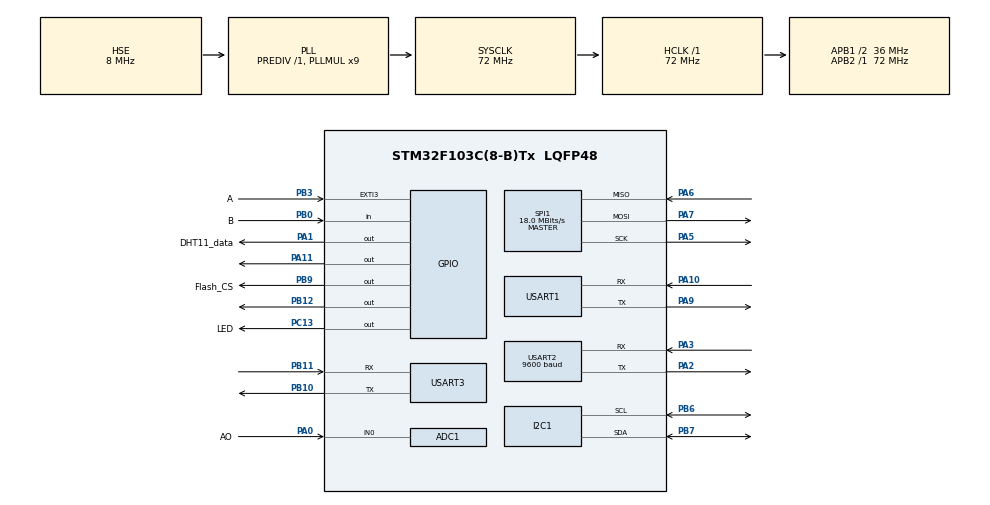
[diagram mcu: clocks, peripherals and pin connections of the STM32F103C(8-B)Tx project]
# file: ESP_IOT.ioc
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ADC1.Channel-0\#ChannelRegularConversion=ADC_CHANNEL_0
ADC1.ContinuousConvMode=ENABLE
ADC1.NbrOfConversion=1
ADC1.NbrOfConversionFlag=1
ADC1.Rank-0\#ChannelRegularConversion=1
ADC1.SamplingTime-0\#ChannelRegularConversion=ADC_SAMPLETIME_55CYCLES_5
ADC1.master=1
Dma.ADC1.4.Direction=DMA_PERIPH_TO_MEMORY
Dma.ADC1.4.Instance=DMA1_Channel1
Dma.ADC1.4.MemDataAlignment=DMA_MDATAALIGN_HALFWORD
Dma.ADC1.4.MemInc=DMA_MINC_DISABLE
Dma.ADC1.4.Mode=DMA_NORMAL
Dma.ADC1.4.PeriphDataAlignment=DMA_PDATAALIGN_HALFWORD
Dma.ADC1.4.PeriphInc=DMA_PINC_DISABLE
Dma.ADC1.4.Priority=DMA_PRIORITY_MEDIUM
Dma.Request0=USART1_RX
Dma.Request1=USART1_TX
Dma.Request2=USART3_RX
Dma.Request3=USART3_TX
Dma.Request4=ADC1
Dma.USART1_RX.0.Direction=DMA_PERIPH_TO_MEMORY
Dma.USART1_RX.0.Instance=DMA1_Channel5
Dma.USART1_RX.0.MemDataAlignment=DMA_MDATAALIGN_BYTE
Dma.USART1_RX.0.MemInc=DMA_MINC_ENABLE
Dma.USART1_RX.0.Mode=DMA_NORMAL
Dma.USART1_RX.0.PeriphDataAlignment=DMA_PDATAALIGN_BYTE
Dma.USART1_RX.0.PeriphInc=DMA_PINC_DISABLE
Dma.USART1_RX.0.Priority=DMA_PRIORITY_LOW
Dma.USART1_TX.1.Direction=DMA_MEMORY_TO_PERIPH
Dma.USART1_TX.1.Instance=DMA1_Channel4
Dma.USART1_TX.1.MemDataAlignment=DMA_MDATAALIGN_BYTE
Dma.USART1_TX.1.MemInc=DMA_MINC_ENABLE
Dma.USART1_TX.1.Mode=DMA_NORMAL
Dma.USART1_TX.1.PeriphDataAlignment=DMA_PDATAALIGN_BYTE
Dma.USART1_TX.1.PeriphInc=DMA_PINC_DISABLE
Dma.USART1_TX.1.Priority=DMA_PRIORITY_LOW
Dma.USART3_RX.2.Direction=DMA_PERIPH_TO_MEMORY
Dma.USART3_RX.2.Instance=DMA1_Channel3
Dma.USART3_RX.2.MemDataAlignment=DMA_MDATAALIGN_BYTE
Dma.USART3_RX.2.MemInc=DMA_MINC_ENABLE
Dma.USART3_RX.2.Mode=DMA_NORMAL
Dma.USART3_RX.2.PeriphDataAlignment=DMA_PDATAALIGN_BYTE
Dma.USART3_RX.2.PeriphInc=DMA_PINC_DISABLE
Dma.USART3_RX.2.Priority=DMA_PRIORITY_LOW
Dma.USART3_TX.3.Direction=DMA_MEMORY_TO_PERIPH
Dma.USART3_TX.3.Instance=DMA1_Channel2
Dma.USART3_TX.3.MemDataAlignment=DMA_MDATAALIGN_BYTE
Dma.USART3_TX.3.MemInc=DMA_MINC_ENABLE
Dma.USART3_TX.3.Mode=DMA_NORMAL
Dma.USART3_TX.3.PeriphDataAlignment=DMA_PDATAALIGN_BYTE
Dma.USART3_TX.3.PeriphInc=DMA_PINC_DISABLE
Dma.USART3_TX.3.Priority=DMA_PRIORITY_LOW
FREERTOS.Queues01=myQueue01,3,uint32_t,0,Dynamic,NULL,NULL
FREERTOS.Tasks01=defaultTask,25,288,StartDefaultTask,Default,NULL,Dynamic,NULL,NULL
FREERTOS.Timers01=UTC,UTC_Callback,osTimerPeriodic,Default,NULL,Dynamic,NULL
FREERTOS.configMINIMAL_STACK_SIZE=128
FREERTOS.configTOTAL_HEAP_SIZE=6132
FREERTOS.configUSE_NEWLIB_REENTRANT=0
Mcu.Family=STM32F1
Mcu.Name=STM32F103C(8-B)Tx
Mcu.Package=LQFP48
NVIC.DMA1_Channel1_IRQn=true\:5\:0\:false\:false\:true\:true\:false\:true\:true
NVIC.DMA1_Channel2_IRQn=true\:5\:0\:false\:false\:true\:true\:false\:true\:true
NVIC.DMA1_Channel3_IRQn=true\:5\:0\:false\:false\:true\:true\:false\:true\:true
NVIC.DMA1_Channel4_IRQn=true\:5\:0\:false\:false\:true\:true\:false\:true\:true
NVIC.DMA1_Channel5_IRQn=true\:5\:0\:false\:false\:true\:true\:false\:true\:true
NVIC.EXTI3_IRQn=true\:5\:0\:false\:false\:true\:true\:true\:true\:true
NVIC.PriorityGroup=NVIC_PRIORITYGROUP_4
NVIC.TIM4_IRQn=true\:15\:0\:false\:false\:true\:false\:false\:true\:true
NVIC.TimeBase=TIM4_IRQn
NVIC.TimeBaseIP=TIM4
NVIC.USART1_IRQn=true\:5\:0\:false\:false\:true\:true\:false\:true\:true
NVIC.USART2_IRQn=true\:5\:0\:false\:false\:true\:true\:true\:true\:true
NVIC.USART3_IRQn=true\:5\:0\:false\:false\:true\:true\:false\:true\:true
PA0-WKUP.GPIO_Label=AO
PA0-WKUP.Signal=ADCx_IN0
PA1.GPIO_Label=DHT11_data
PA1.GPIO_ModeDefaultOutputPP=GPIO_MODE_OUTPUT_PP
PA1.GPIO_PuPd=GPIO_PULLUP
PA1.GPIO_Speed=GPIO_SPEED_FREQ_HIGH
PA1.PinState=GPIO_PIN_SET
PA1.Signal=GPIO_Output
PA10.Mode=Asynchronous
PA10.Signal=USART1_RX
PA11.PinState=GPIO_PIN_SET
PA11.Signal=GPIO_Output
PA13.Mode=Serial_Wire
PA13.Signal=SYS_JTMS-SWDIO
PA14.Mode=Serial_Wire
PA14.Signal=SYS_JTCK-SWCLK
PA2.Mode=Asynchronous
PA2.Signal=USART2_TX
PA3.Mode=Asynchronous
PA3.Signal=USART2_RX
PA5.Mode=Full_Duplex_Master
PA5.Signal=SPI1_SCK
PA6.Mode=Full_Duplex_Master
PA6.Signal=SPI1_MISO
PA7.Mode=Full_Duplex_Master
PA7.Signal=SPI1_MOSI
PA9.Mode=Asynchronous
PA9.Signal=USART1_TX
PB0.GPIO_Label=B
PB0.GPIO_PuPd=GPIO_PULLUP
PB0.Signal=GPIO_Input
PB10.Mode=Asynchronous
PB10.Signal=USART3_TX
PB11.Mode=Asynchronous
PB11.Signal=USART3_RX
PB12.PinState=GPIO_PIN_SET
PB12.Signal=GPIO_Output
PB3.GPIO_Label=A
PB3.GPIO_ModeDefaultEXTI=GPIO_MODE_IT_FALLING
PB3.GPIO_PuPd=GPIO_PULLUP
PB3.Signal=GPXTI3
PB6.Mode=I2C
PB6.Signal=I2C1_SCL
PB7.Mode=I2C
PB7.Signal=I2C1_SDA
PB9.GPIO_Label=Flash_CS
PB9.Signal=GPIO_Output
PC13-TAMPER-RTC.GPIO_Label=LED
PC13-TAMPER-RTC.PinState=GPIO_PIN_SET
PC13-TAMPER-RTC.Signal=GPIO_Output
PC14-OSC32_IN.Mode=LSE-External-Oscillator
PC14-OSC32_IN.Signal=RCC_OSC32_IN
PC15-OSC32_OUT.Mode=LSE-External-Oscillator
PC15-OSC32_OUT.Signal=RCC_OSC32_OUT
PD0-OSC_IN.Mode=HSE-External-Oscillator
PD0-OSC_IN.Signal=RCC_OSC_IN
PD1-OSC_OUT.Mode=HSE-External-Oscillator
PD1-OSC_OUT.Signal=RCC_OSC_OUT
ProjectManager.HeapSize=0x200
ProjectManager.StackSize=0x400
ProjectManager.TargetToolchain=STM32CubeIDE
RCC.ADCPresc=RCC_ADCPCLK2_DIV6
RCC.AHBFreq_Value=72000000
RCC.APB1CLKDivider=RCC_HCLK_DIV2
RCC.APB1Freq_Value=36000000
RCC.APB1TimFreq_Value=72000000
RCC.APB2Freq_Value=72000000
RCC.APB2TimFreq_Value=72000000
RCC.HCLKFreq_Value=72000000
RCC.PLLMUL=RCC_PLL_MUL9
RCC.PLLSourceVirtual=RCC_PLLSOURCE_HSE
RCC.SYSCLKFreq_VALUE=72000000
RCC.SYSCLKSource=RCC_SYSCLKSOURCE_PLLCLK
RCC.USBFreq_Value=72000000
SH.ADCx_IN0.0=ADC1_IN0,IN0
SPI1.BaudRatePrescaler=SPI_BAUDRATEPRESCALER_4
SPI1.CLKPhase=SPI_PHASE_1EDGE
SPI1.CLKPolarity=SPI_POLARITY_LOW
SPI1.CRCCalculation=SPI_CRCCALCULATION_DISABLE
SPI1.CalculateBaudRate=18.0 MBits/s
SPI1.Direction=SPI_DIRECTION_2LINES
SPI1.Mode=SPI_MODE_MASTER
SPI1.VirtualType=VM_MASTER
TIM1.Prescaler=71
USART1.VirtualMode=VM_ASYNC
USART2.BaudRate=9600
USART2.VirtualMode=VM_ASYNC
USART3.VirtualMode=VM_ASYNC
VP_FREERTOS_VS_CMSIS_V2.Mode=CMSIS_V2
VP_SYS_VS_tim4.Mode=TIM4
VP_TIM1_VS_ClockSourceINT.Mode=Internal
board=custom

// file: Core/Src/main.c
/* USER CODE BEGIN Header */
/**
  ******************************************************************************
  * @file           : main.c
  * @brief          : Main program body
  ******************************************************************************
  * @attention
  *
  * Copyright (c) 2025 STMicroelectronics.
  * All rights reserved.
  *
  * This software is licensed under terms that can be found in the LICENSE file
  * in the root directory of this software component.
  * If no LICENSE file comes with this software, it is provided AS-IS.
  *
  ******************************************************************************
  */
/* USER CODE END Header */
#include "main.h"
#include "cmsis_os.h"
#include "adc.h"
#include "dma.h"
#include "i2c.h"
#include "spi.h"
#include "tim.h"
#include "usart.h"
#include "gpio.h"

/* USER CODE BEGIN Includes */
#include "esp8266.h"
#include "string.h"
#include "stdio.h"
#include "EC11.h"
#include "Light.h"
//#include "GPS.h"
#include "DHT11.h"
#include "Flash.h"
#include "MPU6050_max.h"
#include "math.h"
/* USER CODE END Includes */

/* USER CODE BEGIN PM */
extern uint8_t Uart3_RxData;	//接收中断3缓冲
extern uint8_t Uart1_RxData;  	//接收中断1缓冲

extern void OLED_Flash();

/* USER CODE END PM */

void SystemClock_Config(void);
void MX_FREERTOS_Init(void);

/* USER CODE BEGIN 0 */

//设备初始化函数
void BSP_Init()
{
	  MPU6050_Init(&hi2c1);	//陀螺仪初始化

	  OLED_Init();	//OLED初始化
	  OLED_Clear();

	  OLED_ShowCHinese(20,2,0);	//初
	  OLED_ShowCHinese(40,2,1);	//始
	  OLED_ShowCHinese(60,2,2);	//化
	  OLED_ShowCHinese(80,2,3);	//中

	  ESP8266_Init();	//esp8266初始化

}
/* USER CODE END 0 */

int main(void)
{

  /* USER CODE BEGIN 1 */
//	uint8_t readUid[5];
//	uint8_t UID[5]={0xFB,0x29,0x0B,0x0A};//自己的卡号
//	char clear[128]={0};
  /* USER CODE END 1 */

  /* MCU Configuration--------------------------------------------------------*/

  /* Reset of all peripherals, Initializes the Flash interface and the Systick. */
  HAL_Init();

  /* Configure the system clock */
  SystemClock_Config();

  /* Initialize all configured peripherals */
  MX_GPIO_Init();
  MX_DMA_Init();
  MX_USART1_UART_Init();
  MX_USART3_UART_Init();
  MX_ADC1_Init();
  MX_USART2_UART_Init();
  MX_SPI1_Init();
  MX_TIM1_Init();
  MX_I2C1_Init();
  /* USER CODE BEGIN 2 */
  HAL_UART_Receive_IT(&huart1,(uint8_t *)&Uart1_RxData, 1);	//开启接收中断
  HAL_UART_Receive_IT(&huart3,(uint8_t *)&Uart3_RxData, 1);
  HAL_Delay(1000);

  BSP_Init();	//初始化设备

  HAL_Delay(2000);
  /* USER CODE END 2 */

  /* Init scheduler */
  osKernelInitialize();  /* Call init function for freertos objects (in cmsis_os2.c) */
  MX_FREERTOS_Init();

  /* Start scheduler */
  osKernelStart();

  /* We should never get here as control is now taken by the scheduler */

  /* Infinite loop */
  /* USER CODE BEGIN WHILE */
  while (1)
  {

	  LED_TO;
		HAL_Delay(2000);
    /* USER CODE END WHILE */

  }
}

void SystemClock_Config(void)
{
  RCC_OscInitTypeDef RCC_OscInitStruct = {0};
  RCC_ClkInitTypeDef RCC_ClkInitStruct = {0};
  RCC_PeriphCLKInitTypeDef PeriphClkInit = {0};

  /** Initializes the RCC Oscillators according to the specified parameters
  * in the RCC_OscInitTypeDef structure.
  */
  RCC_OscInitStruct.OscillatorType = RCC_OSCILLATORTYPE_HSE;
  RCC_OscInitStruct.HSEState = RCC_HSE_ON;
  RCC_OscInitStruct.HSEPredivValue = RCC_HSE_PREDIV_DIV1;
  RCC_OscInitStruct.HSIState = RCC_HSI_ON;
  RCC_OscInitStruct.PLL.PLLState = RCC_PLL_ON;
  RCC_OscInitStruct.PLL.PLLSource = RCC_PLLSOURCE_HSE;
  RCC_OscInitStruct.PLL.PLLMUL = RCC_PLL_MUL9;
  if (HAL_RCC_OscConfig(&RCC_OscInitStruct) != HAL_OK)
  {
    Error_Handler();
  }

  /** Initializes the CPU, AHB and APB buses clocks
  */
  RCC_ClkInitStruct.ClockType = RCC_CLOCKTYPE_HCLK|RCC_CLOCKTYPE_SYSCLK
                              |RCC_CLOCKTYPE_PCLK1|RCC_CLOCKTYPE_PCLK2;
  RCC_ClkInitStruct.SYSCLKSource = RCC_SYSCLKSOURCE_PLLCLK;
  RCC_ClkInitStruct.AHBCLKDivider = RCC_SYSCLK_DIV1;
  RCC_ClkInitStruct.APB1CLKDivider = RCC_HCLK_DIV2;
  RCC_ClkInitStruct.APB2CLKDivider = RCC_HCLK_DIV1;

  if (HAL_RCC_ClockConfig(&RCC_ClkInitStruct, FLASH_LATENCY_2) != HAL_OK)
  {
    Error_Handler();
  }
  PeriphClkInit.PeriphClockSelection = RCC_PERIPHCLK_ADC;
  PeriphClkInit.AdcClockSelection = RCC_ADCPCLK2_DIV6;
  if (HAL_RCCEx_PeriphCLKConfig(&PeriphClkInit) != HAL_OK)
  {
    Error_Handler();
  }
}

void HAL_TIM_PeriodElapsedCallback(TIM_HandleTypeDef *htim)
{
  if (htim->Instance == TIM4)
  {
    HAL_IncTick();
  }
}

void Error_Handler(void)
{
  __disable_irq();
  while (1)
  {
  }
}

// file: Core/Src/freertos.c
/* USER CODE BEGIN Header */
/**
  ******************************************************************************
  * File Name          : freertos.c
  * Description        : Code for freertos applications
  ******************************************************************************
  * @attention
  *
  * Copyright (c) 2025 STMicroelectronics.
  * All rights reserved.
  *
  * This software is licensed under terms that can be found in the LICENSE file
  * in the root directory of this software component.
  * If no LICENSE file comes with this software, it is provided AS-IS.
  *
  ******************************************************************************
  */
/* USER CODE END Header */

#include "FreeRTOS.h"
#include "task.h"
#include "main.h"
#include "cmsis_os.h"

/* USER CODE BEGIN Includes */
#include "dht11.h"
#include "Light.h"
#include "esp8266.h"
#include "string.h"
#include "stdio.h"
#include "oled.h"
#include "EC11.h"
/* USER CODE END Includes */

/* USER CODE BEGIN Variables */
//extern uint8_t Light;

extern char json[200];
extern char cmd[300];
extern char reply[256];
extern uint8_t EC11_flag;		//编码器动作标志位
extern uint8_t Onet_flag;		//OnenetTask中OLED显示数据的标志位

uint8_t reply_flag = 0;
uint8_t utc_flag = 0;
uint8_t Task_flag= 0;	//所有任务运行状态

TimeData time_data;	//存储标准时间的变量

uint8_t month;	//当年前月份

extern unsigned char esp8266_buf[256];
extern unsigned char esp8266_buf_cpy[256];

extern void DHT11Task(void);
extern void LightTask(void);
extern void MPU6050Task(void);

//存储消息队列的缓冲区
SensorData_t tx_buff =
{
	.Data = {1,0,1,0,0},
	.Light = 1
};

/* USER CODE END Variables */
/* Definitions for defaultTask */
osThreadId_t defaultTaskHandle;
const osThreadAttr_t defaultTask_attributes = {
  .name = "defaultTask",
  .stack_size = 288 * 4,
  .priority = (osPriority_t) osPriorityNormal1,
};
/* Definitions for myQueue01 */
osMessageQueueId_t myQueue01Handle;
const osMessageQueueAttr_t myQueue01_attributes = {
  .name = "myQueue01"
};
/* Definitions for UTC */
osTimerId_t UTCHandle;
const osTimerAttr_t UTC_attributes = {
  .name = "UTC"
};

/* USER CODE BEGIN FunctionPrototypes */
osThreadId_t DHT11TaskHandle;
const osThreadAttr_t DHT11Task_attributes = {
  .name = "DHT11Task",
  .stack_size = 128 * 7,
  .priority = (osPriority_t) osPriorityNormal,
};

osThreadId_t LightTaskHandle;
const osThreadAttr_t LightTask_attributes = {
  .name = "LightTask",
  .stack_size = 128 * 7,
  .priority = (osPriority_t) osPriorityNormal,
};

osThreadId_t OnenetTaskHandle;
const osThreadAttr_t OnenetTask_attributes = {
  .name = "OnenetTask",
  .stack_size = 128 * 11,
  .priority = (osPriority_t) osPriorityNormal+1,
};

osThreadId_t MPU6050TaskHandle;
const osThreadAttr_t MPU6050Task_attributes = {
  .name = "MPU6050Task",
  .stack_size = 128 * 8,
  .priority = (osPriority_t) osPriorityNormal,
};

void OnenetTask();

//将英文的月份转换成阿拉伯数字，因为在授时中心获取到的月份是英文的（week也是英文的）
void Chage_Month()
{
	const char* month_table[] =
	{
	    "Jan","Feb","Mar","Apr","May","Jun",
	    "Jul","Aug","Sep","Oct","Nov","Dec"
	};

	month = 0;
	for(int i=0;i<12;i++)
	{
	    if(strcmp(time_data.month, month_table[i]) == 0)
	    {
	        month = i + 1;
	        break;
	    }
	}

}

extern uint8_t idex;	//EC11顺时针旋转的次数
uint8_t idex_cpy= 0;	//存储上一次idex的次数

//将flash内存储的报警信息在OLED上显示出来
//一页OLED最多显示4条报警信息，可以顺时针旋转EC11来查看下一页的报警信息
void OLED_Flash(void)
{
    uint8_t buf;
    uint32_t addr = 0;
    uint8_t x = 0, y = 0;

    while (1)
    {
    	idex_cpy= idex;

        W25Q64_ReadData(&buf, addr, 1);
//        printf("ADDR:%lu  BYTE:0x%02X '%c'\r\n", addr, buf, buf);

        if (buf == 0xFF)	//获取完所有的报警内容了
        	{
        		EC11_flag= 3;
        		break;
        	}

        if (buf == '\n')	//如果遇到\n就不显示出来，因为OLED显示不了\n，强行显示会乱码
        {
//            x = 0;
//            y += 2;
//            if (y >= 8) break;
            addr++;
            continue;
        }

        OLED_ShowChar(x, y, buf, 1);

        x += 6;
        if (x + 6 >= 128)
        {
            x = 0;
            y += 2;
            if (y >= 8)	//这一页显示满了，想要显示更多数据得换页
            {
            	while(idex == idex_cpy)	//等待EC11顺时针旋转
            		osDelay(500);
        		x= 0;
        		y= 0;
            }
        }

        addr++;
    }
}

/* USER CODE END FunctionPrototypes */

void StartDefaultTask(void *argument);
void UTC_Callback(void *argument);

void MX_FREERTOS_Init(void); /* (MISRA C 2004 rule 8.1) */

void MX_FREERTOS_Init(void) {

  /* Create the timer(s) */
  /* creation of UTC */
  UTCHandle = osTimerNew(UTC_Callback, osTimerPeriodic, NULL, &UTC_attributes);

  /* Create the queue(s) */
  /* creation of myQueue01 */
  myQueue01Handle = osMessageQueueNew (3, sizeof(tx_buff), &myQueue01_attributes);

  /* USER CODE BEGIN RTOS_QUEUES */
  /* add queues, ... */
  //***************************************注意每次更新cubeMX后要把下面的消息队列创造复制覆盖cubemx生成的队列创建代码******/
//  myQueue01Handle = osMessageQueueNew (3, sizeof(tx_buff), &myQueue01_attributes);
  /* USER CODE END RTOS_QUEUES */

  /* Create the thread(s) */
  /* creation of defaultTask */
  defaultTaskHandle = osThreadNew(StartDefaultTask, NULL, &defaultTask_attributes);

  /* USER CODE BEGIN RTOS_THREADS */
  /* add threads, ... */
  OnenetTaskHandle = osThreadNew(OnenetTask, NULL, &OnenetTask_attributes);
  DHT11TaskHandle = osThreadNew(DHT11Task, NULL, &DHT11Task_attributes);
  LightTaskHandle = osThreadNew(LightTask, NULL, &LightTask_attributes);
  MPU6050TaskHandle = osThreadNew(MPU6050Task, NULL, &MPU6050Task_attributes);

  /* USER CODE END RTOS_THREADS */

}

void StartDefaultTask(void *argument)
{
  /* USER CODE BEGIN StartDefaultTask */
  /* Infinite loop */
	//MX_IWDG_Init();

	OLED_Clear();
	OLED_ShowCHinese(20,2,4);	//校
	OLED_ShowCHinese(40,2,5);	//准
	OLED_ShowCHinese(60,2,6);	//时
	OLED_ShowCHinese(80,2,7);	//间

	printf("PC:\nCIPSNTPTIME\n");	//获取当前时间
	while(ESP8266_Send(CIPSNTPTIME,"OK"))
	HAL_Delay(2000);

	osDelay(2000);
  for(;;)
  {
	  if(utc_flag)
	  {
		  char *p = strstr(esp8266_buf_cpy, "+CIPSNTPTIME:");
		  if (p) {
		      // 找到第一行的结束位置，截断
		      char *end = strstr(p, "\r\n");
		      if (end) *end = '\0';

		      // 现在 p 变成：
		      // "+CIPSNTPTIME:Thu Nov 27 22:52:44 2025"
		      sscanf(p,
		             "+CIPSNTPTIME:%3s %3s %d %d:%d:%d %d",
		             time_data.weekday,
		             time_data.month,
		             &time_data.day,
		             &time_data.hour,
		             &time_data.minute,
		             &time_data.second,
		             &time_data.year);

		      Chage_Month();	//将英文的月份转换成阿拉伯数字

			  ESP8266_Clear_cpy();
		  }

		  if(time_data.year== 1970)	//如果jiaozhun时间失败就一直获取，直到成功（校准时间失败年份会显示1970)
		  {
				printf("PC:\nCIPSNTPCFG\n");
				while(ESP8266_Send(CIPSNTPCFG, "OK"))
				HAL_Delay(2000);

				printf("PC:\nCIPSNTPTIME\n");
				while(ESP8266_Send(CIPSNTPTIME,"OK"))
				HAL_Delay(2000);
		  }
		  else	//校准时间成功
		  {
			  osTimerStart (UTCHandle, 1000);	//计时器开始工作，1秒进一次中断
			  time_data.second+=2;	//因为代码运行需要时间，可能会有几秒的偏差，这里进行校准
			  OLED_Clear();
			  utc_flag = 0;	//校准成功
			  Task_flag= 1;	//所有任务可以开始运行
		  }

	  }

	  if(EC11_flag== 1)	//顺时针旋转了EC11
	  {

		  OLED_Flash();	//显示报警日志
	  }
	  else if(EC11_flag== 2)	//逆时针旋转EC11
	  {
		  OLED_Clear();

		  W25Q64_SectorErase(0);	//清空flash内的报警日志（0...3扇区）
		  W25Q64_SectorErase(1);
		  W25Q64_SectorErase(2);
		  W25Q64_SectorErase(3);

		  EC11_flag= 0;	//EC11标志位恢复初始状态（没有拧过的状态）
		  Onet_flag= 1;	//OnenetTask可以继续在OLED上显示温度等数据
	  }

	//HAL_IWDG_Refresh(&hiwdg);
    osDelay(1000);
  }
  /* USER CODE END StartDefaultTask */
}

/* UTC_Callback function */
void UTC_Callback(void *argument)
{
  /* USER CODE BEGIN UTC_Callback */

	time_data.second++;
	if(time_data.second>= 60) time_data.minute++, time_data.second= 0;
	if(time_data.minute>= 60) time_data.hour++, time_data.minute= 0;
	if(time_data.hour>= 24)	//时间过0点时校准一下时间
	{
		//暂停其他任务，避免串口过载，争夺esp8266的串口口资源
		osThreadSuspend(DHT11TaskHandle);
		osThreadSuspend(LightTaskHandle);
		osThreadSuspend(MPU6050TaskHandle);
		osThreadSuspend(OnenetTaskHandle);

		ESP8266_Clear_cpy();

		printf("PC:\nCIPSNTPTIME\n");
		while(ESP8266_Send(CIPSNTPTIME,"OK"))
		HAL_Delay(2000);

		Onet_flag== 1;

		osThreadResume(DHT11TaskHandle);
		osThreadResume(LightTaskHandle);
		osThreadResume(MPU6050TaskHandle);
		osThreadResume(OnenetTaskHandle);
	}
	if(EC11_flag== 0)	//没有在日志显示状态下，运行显示当前时间
	{
		OLED_ShowNum(60,0,time_data.hour,2,2);
		OLED_ShowNum(78,0,time_data.minute,2,2);
		OLED_ShowNum(96,0,time_data.second,2,2);
	}

  /* USER CODE END UTC_Callback */
}

/* USER CODE BEGIN Application */

void OnenetTask()
{
//	osThreadSuspend(DHT11TaskHandle);
//	osThreadSuspend(LightTaskHandle);
//	osThreadSuspend(MPU6050TaskHandle);
//	osThreadSuspend(NULL);

	do
	{
		osDelay(1000);
	}while(!Task_flag);	//等待时间校准完毕

	//存储上一次的数据
	uint8_t Hum = 0, Temp = 0, Light_nx = 0;
	int8_t AngleX_nx= 0, AngleY_nx= 0;

	//获取消息队列内的消息的缓存区
	int8_t data[8] = {1,1,1,1,1,1,1,1};

	//消息队列的状态
	osStatus_t sates;

	//访问esp8266超时时间
	uint8_t time_out = 0;

	//存储回复平台的ID号
	char id_buf[32];
	while(1)
	{
		if (reply_flag == 1)	//有需要答复平台的消息
		{
			//防止在答复信息时，数据更新，与当前答复信息竞争esp8266的串口资源
			osThreadSuspend(DHT11TaskHandle);
			osThreadSuspend(LightTaskHandle);
			osThreadSuspend(MPU6050TaskHandle);

			//截取出ID号（因为每次平台下发的ID号 是随机的，我们答复的时候要于平台下发的ID一致才算有效答复
			char *p = strstr(esp8266_buf_cpy, "\"id\":\"");
			if (p)
			{
			    p += strlen("\"id\":\"");        // 跳到 id 起始位置
			    char *q = strchr(p, '"');        // 找到下一个 "
			    if (q)
			    {
			        int len = q - p;
			        if (len > 0 && len < sizeof(id_buf))
			        {
			            strncpy(id_buf, p, len);
			            id_buf[len] = '\0';
			        }
			    }
			}

			if (strstr(esp8266_buf_cpy, "\"LED\":true"))
			{
				LED_ON;
			}
			else if(strstr(esp8266_buf_cpy, "\"LED\":f"))
			{
				LED_OFF;
			}

			sprintf(reply,
			    "AT+MQTTPUB=0,\"$sys/%s/%s/thing/property/set_reply\",\"{\\\"id\\\":\\\"%s\\\"\\\,\\\"code\\\":0\\\,\\\"msg\\\":\\\"success\\\"}\",0,0\r\n",
			    DEVICE_ID,
			    USER_NAME,
				id_buf
			);

			printf("PC:\nMQTTreply\n");		//答复平台
			ESP8266_Clear_cpy();
			while(ESP8266_SendCmd(reply, "OK"))
			{
					time_out++;
					osDelay(1000);
					if(time_out >= 3) break;
			}

			osThreadResume(DHT11TaskHandle);
			osThreadResume(LightTaskHandle);
			osThreadResume(MPU6050TaskHandle);

			reply_flag = 0;		//回复完毕
			ESP8266_Clear_cpy();
		}

		else if(reply_flag == 0)	//如果没有需要应答的消息 就主动去更新数据给云平台
		{
			sates = osMessageQueueGet (myQueue01Handle, data, NULL, 0);		//获取消息队列内的内容

			if(sates == osOK || Onet_flag== 1)	//消息准备号了  或者  刚刚退出日志显示状态
			{

				//暂停其他任务，防止干扰
				osThreadSuspend(DHT11TaskHandle);
				osThreadSuspend(LightTaskHandle);
				osThreadSuspend(MPU6050TaskHandle);

//				printf("%d %d\r\n",data_3[0],data_3[2]);

				//限制更新数据给onenet平台的阈值，节约串口资源，节省时间
				if( data[0] >= Hum+2 || data[0] <= Hum-2 ||data[2] <= Temp-2 || data[2] >= Temp+2 || data[5] >= Light_nx+3 || data[5] <= Light_nx-3 || AngleX_nx >= data[6]+5 || AngleX_nx <= data[6]-5 || AngleY_nx >= data[7]+5 || AngleY_nx <= data[7] -5 || Onet_flag== 1)
				{

					sprintf(json,"{\\\"id\\\":\\\"1\\\"\\\,\\\"params\\\":{\\\"Temp\\\":{\\\"value\\\":%d}\\\,\\\"Hum\\\":{\\\"value\\\":%d}\\\,\\\"Light\\\":{\\\"value\\\":%d}\\\,\\\"AngleX\\\":{\\\"value\\\":%d}\\\,\\\"AngleY\\\":{\\\"value\\\":%d}}}",
						data[2],
						data[0],
						data[5],
						data[6],
						data[7]
					);

					sprintf(cmd,"AT+MQTTPUB=0,\"$sys/%s/%s/thing/property/post\",\"%s\",0,0\r\n",
						DEVICE_ID,
						USER_NAME,
						json
					);

					printf("PC:\nMQTTPUB\n");	//上传数据给平台
					ESP8266_Clear();
					while(ESP8266_Send(cmd, "OK"))
					{
							time_out++;
							osDelay(1000);
							if(time_out >= 2) break;
					}

					if(EC11_flag== 0)	//如果不在日志显示页面时，便显示温度等数据
					{
						OLED_ShowNum(0,0,time_data.year,4,2);
						OLED_ShowChar(25,0,'.',2);
						OLED_ShowNum(28,0,month,2,2);
						OLED_ShowChar(40,0,'.',2);
						OLED_ShowNum(43,0,time_data.day,2,2);

						OLED_ShowChar(73,0,':',2);

						OLED_ShowChar(91,0,':',2);

						OLED_ShowString(0,2,(uint8_t *)"Light:",7);
						OLED_ShowNum(50,2,data[5],2,2);

						OLED_ShowString(0,4,(uint8_t *)"Hum:",5);
						OLED_ShowNum(50,4,data[0],2,2);

						OLED_ShowString(0,6,(uint8_t *)"Temp:",6);
						OLED_ShowNum(50,6,data[2],2,2);

						Onet_flag= 0;
					}

					//存储旧数据
					Hum = data[0];
					Temp = data[2];
					Light_nx = data[5];
					AngleX_nx= data[6];
					AngleY_nx= data[7];

				}

					osThreadResume(DHT11TaskHandle);
					osThreadResume(LightTaskHandle);
					osThreadResume(MPU6050TaskHandle);
				}
		}

//		size_t free_heap = xPortGetFreeHeapSize();
//		printf("剩余堆：%u bytes\r\n", free_heap);

		time_out = 0;
		osDelay(250);
	}
}

/* USER CODE END Application */
